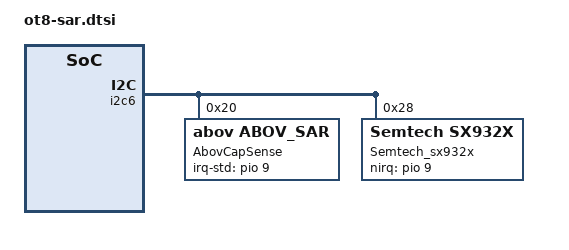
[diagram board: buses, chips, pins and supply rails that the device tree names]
&i2c6 {
    /*TabA7 Lite code for OT8-2816 by Hujincan at 20210207 start*/
    abov_sar@20 {
        status = "ok";
        compatible = "abov,abov_sar";
        reg = <0x20>;
        gpio-irq = <9>;
        gpio-irq-std =<&pio 9 0x0>;
        label = "AbovCapSense";
        reg_array_len = <0x02>;
        reg_array_val = <0x07 0x00 0xFB 0x01>;
        cap,use_channel_bottom = <0x00>;
        cap,use_channel_top = <0x01>;
    };
    /*TabA7 Lite code for OT8-2816 by Hujincan at 20210207 end*/

    /*TabA7 Lite code for OT8-2816|OT8-5204 by Hujincan at 20211019 start*/
    Semtech_sx932x@28 {
        compatible = "Semtech,sx932x";
        reg = <0x28>;
        gpio-irq = <9>;
        Semtech,nirq-gpio = <&pio 9 0x0>;
        status = "ok"; /**/
        Semtech,reg-num = <40>;
        /*total registers number to initialize for 3565*/
        Semtech,reg-init-65 = /bits/ 8 < 0x10 0x0F
                                         0x11 0x20
                                         0x14 0x00
                                         0x15 0x00
                                         0x20 0x20
                                         0x23 0x00
                                         0x24 0xB7
                                         0x26 0x00
                                         0x27 0xB7
                                         0x28 0x3D
                                         0x29 0x37
                                         0x2A 0x1F
                                         0x2B 0x3F
                                         0x2C 0x12
                                         0x2D 0x06
                                         0x30 0x11
                                         0x31 0x11
                                         0x32 0x20
                                         0x33 0x20
                                         0x34 0x0C
                                         0x35 0x0F
                                         0x36 0x18
                                         0x37 0x0E
                                         0x40 0x00
                                         0x41 0x00
                                         0x42 0x11
                                         0x43 0x25
                                         0x44 0x05
                                         0x45 0x05
                                         0x46 0x00
                                         0x47 0x00
                                         0x48 0x00
                                         0x49 0x00
                                         0x4A 0x00
                                         0x4B 0x00
                                         0x4C 0x00
                                         0x05 0x70
                                         0x06 0x00
                                         0x07 0x80
                                         0x11 0x27>;
        /*total registers number to initialize for 3566*/
        Semtech,reg-init-66 = /bits/ 8 < 0x10 0x0F
                                         0x11 0x20
                                         0x14 0x00
                                         0x15 0x00
                                         0x20 0x20
                                         0x23 0x00
                                         0x24 0xB7
                                         0x26 0x00
                                         0x27 0xB7
                                         0x28 0x3D
                                         0x29 0x37
                                         0x2A 0x1F
                                         0x2B 0x3F
                                         0x2C 0x12
                                         0x2D 0x06
                                         0x30 0x11
                                         0x31 0x11
                                         0x32 0x20
                                         0x33 0x20
                                         0x34 0x0C
                                         0x35 0x0F
                                         0x36 0x18
                                         0x37 0x0B
                                         0x40 0x00
                                         0x41 0x00
                                         0x42 0x11
                                         0x43 0x19
                                         0x44 0x02
                                         0x45 0x05
                                         0x46 0x00
                                         0x47 0x00
                                         0x48 0x00
                                         0x49 0x00
                                         0x4A 0x00
                                         0x4B 0x00
                                         0x4C 0x00
                                         0x05 0x70
                                         0x06 0x00
                                         0x07 0x80
                                         0x11 0x27>;
        /*total registers number to initialize for 3567*/
        Semtech,reg-init-67 = /bits/ 8 < 0x10 0x0F
                                         0x11 0x20
                                         0x14 0x00
                                         0x15 0x00
                                         0x20 0x20
                                         0x23 0x00
                                         0x24 0xB7
                                         0x26 0x00
                                         0x27 0xB7
                                         0x28 0x3D
                                         0x29 0x37
                                         0x2A 0x1F
                                         0x2B 0x3F
                                         0x2C 0x12
                                         0x2D 0x06
                                         0x30 0x11
                                         0x31 0x11
                                         0x32 0x20
                                         0x33 0x20
                                         0x34 0x0C
                                         0x35 0x0F
                                         0x36 0x18
                                         0x37 0x0E
                                         0x40 0x00
                                         0x41 0x00
                                         0x42 0x11
                                         0x43 0x25
                                         0x44 0x05
                                         0x45 0x05
                                         0x46 0x00
                                         0x47 0x00
                                         0x48 0x00
                                         0x49 0x00
                                         0x4A 0x00
                                         0x4B 0x00
                                         0x4C 0x00
                                         0x05 0x70
                                         0x06 0x00
                                         0x07 0x80
                                         0x11 0x25>;
    };
    /*TabA7 Lite code for OT8-2816|OT8-5204 by Hujincan at 20211019 end*/
};
